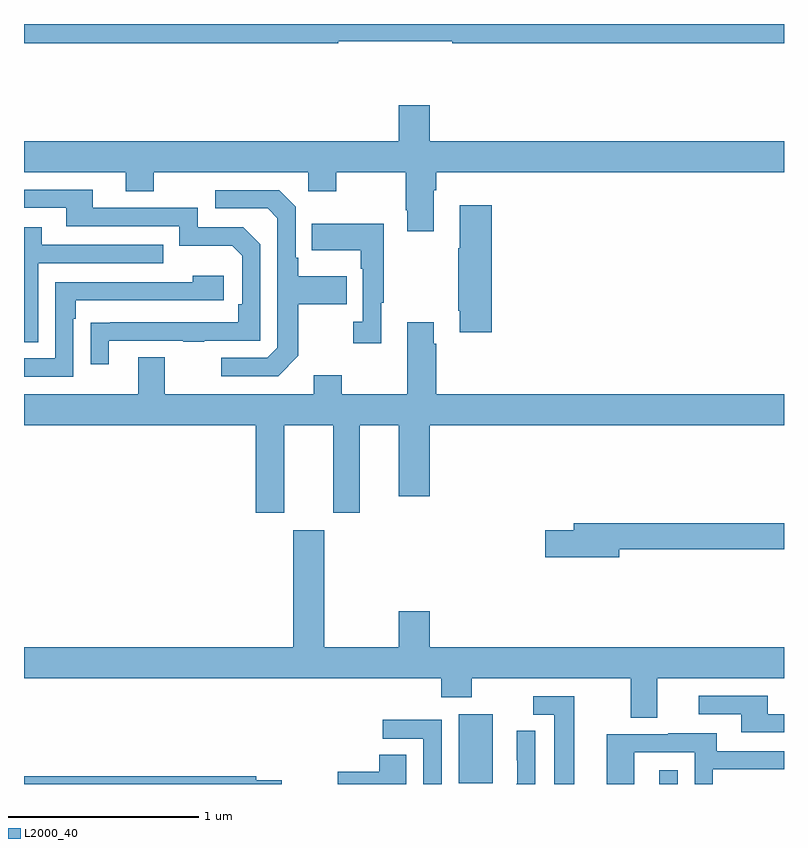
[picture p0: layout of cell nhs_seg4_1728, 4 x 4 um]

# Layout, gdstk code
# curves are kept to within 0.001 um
import gdstk
lib = gdstk.Library(unit=1e-6, precision=1e-09)
def R(c, l, rs):  # rectangles x0, y0, x1, y1
    for r in rs: c.add(gdstk.rectangle(r[:2], r[2:], *l))
def P(c, l, *ps):  # polygons
    for p in ps: c.add(gdstk.Polygon(p, *l))
L2000_40 = (2000, 40)

nhs_seg4_1728 = lib.new_cell('nhs_seg4_1728')
R(nhs_seg4_1728, L2000_40, [(202.343,826.9,202.44,826.972), (201.287,826.905,201.466,827.266)])
P(nhs_seg4_1728, L2000_40, [(200.655,830.808),(201.255,830.808),(201.255,830.8),(203,830.8),(203,830.9),(199,830.9),(199,830.8),(200.655,830.8)],
  [(201.157,830.024),(201.17,830.024),(201.17,830.12),(203,830.12),(203,830.284),(201.136,830.284),(201.136,830.473),(200.972,830.473),(200.972,830.284),(199,830.284),(199,830.12),(199.535,830.12),(199.535,830.021),(199.683,830.021),(199.683,830.12),(200.496,830.12),(200.496,830.021),(200.643,830.021),(200.643,830.12),(201.01,830.12),(201.01,829.921),(201.017,829.921),(201.017,829.809),(201.157,829.809)],
  [(199.447,829.233),(199.837,829.233),(199.837,829.228),(199.949,829.228),(199.949,829.233),(200.244,829.233),(200.244,829.74),(200.154,829.83),(199.914,829.83),(199.914,829.932),(199.363,829.932),(199.363,830.028),(199,830.028),(199,829.932),(199.223,829.932),(199.223,829.836),(199.818,829.836),(199.818,829.733),(200.095,829.733),(200.148,829.68),(200.148,829.426),(200.128,829.426),(200.128,829.329),(199.351,829.328),(199.351,829.11),(199.447,829.11)],
  [(200.443,829.153),(200.443,829.426),(200.699,829.426),(200.699,829.573),(200.443,829.573),(200.443,829.669),(200.43,829.669),(200.43,829.938),(200.343,830.025),(200.007,830.025),(200.007,829.929),(200.283,829.929),(200.334,829.878),(200.334,829.197),(200.28,829.143),(200.037,829.143),(200.037,829.047),(200.337,829.047)],
  [(201.461,829.945),(201.293,829.945),(201.293,829.721),(201.286,829.721),(201.286,829.39),(201.293,829.39),(201.293,829.278),(201.461,829.278)],
  [(200.881,829.433),(200.893,829.433),(200.893,829.849),(200.515,829.849),(200.515,829.709),(200.772,829.709),(200.772,829.613),(200.784,829.613),(200.784,829.334),(200.733,829.334),(200.733,829.221),(200.881,829.221)],
  [(199.074,829.641),(199.733,829.641),(199.733,829.737),(199.093,829.737),(199.093,829.831),(199,829.831),(199,829.225),(199.074,829.225)],
  [(199.26,829.349),(199.273,829.349),(199.273,829.446),(200.05,829.446),(200.05,829.576),(199.889,829.576),(199.889,829.542),(199.164,829.542),(199.164,829.14),(199,829.14),(199,829.044),(199.26,829.044)],
  [(200.371,828.788),(200.627,828.788),(200.627,828.327),(200.767,828.327),(200.767,828.788),(200.972,828.788),(200.972,828.414),(201.136,828.414),(201.136,828.788),(203,828.788),(203,828.952),(201.17,828.952),(201.17,829.217),(201.157,829.217),(201.157,829.33),(201.017,829.33),(201.017,828.952),(200.673,828.952),(200.673,829.051),(200.525,829.051),(200.525,828.952),(199.741,828.952),(199.741,829.147),(199.601,829.147),(199.601,828.952),(199,828.952),(199,828.788),(200.219,828.788),(200.219,828.327),(200.371,828.327)],
  [(202.132,828.136),(203,828.136),(203,828.272),(201.893,828.272),(201.893,828.236),(201.744,828.236),(201.744,828.094),(202.132,828.094)],
  [(201.197,827.357),(201.357,827.357),(201.357,827.456),(202.193,827.456),(202.193,827.248),(202.333,827.248),(202.333,827.456),(203,827.456),(203,827.62),(201.136,827.62),(201.136,827.809),(200.972,827.809),(200.972,827.62),(200.581,827.62),(200.581,828.235),(200.417,828.235),(200.417,827.62),(199,827.62),(199,827.456),(201.197,827.456)],
  [(203,827.268),(202.915,827.268),(202.915,827.364),(202.551,827.364),(202.551,827.268),(202.775,827.268),(202.775,827.172),(203,827.172)],
  [(201.895,827.361),(201.681,827.361),(201.681,827.265),(201.791,827.265),(201.791,826.9),(201.895,826.9)],
  [(201.198,827.238),(200.889,827.238),(200.889,827.139),(201.102,827.139),(201.102,826.9),(201.198,826.9)],
  [(201.69,827.18),(201.594,827.18),(201.594,827.026),(201.596,827.026),(201.596,826.904),(201.592,826.9),(201.69,826.9)],
  [(202.212,827.067),(202.53,827.067),(202.53,826.9),(202.626,826.9),(202.626,826.977),(203,826.977),(203,827.073),(202.645,827.073),(202.645,827.167),(202.391,827.167),(202.391,827.163),(202.067,827.163),(202.067,826.9),(202.212,826.9)],
  [(201.013,827.054),(200.87,827.054),(200.87,826.964),(200.652,826.964),(200.652,826.9),(201.013,826.9)],
  [(200.356,826.92),(200.222,826.92),(200.222,826.94),(199,826.94),(199,826.9),(200.356,826.9)])

lib.write_gds('nhs_seg4_1728.gds')
